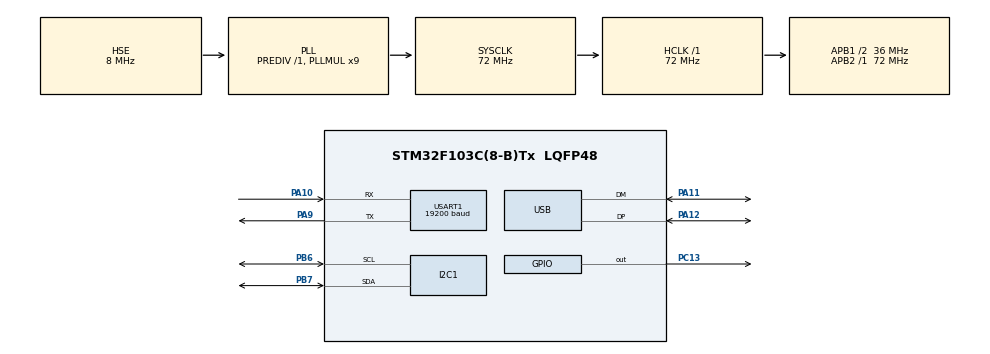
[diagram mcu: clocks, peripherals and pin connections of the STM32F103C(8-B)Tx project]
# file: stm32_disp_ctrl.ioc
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Dma.Request0=USART1_RX
Dma.Request1=USART1_TX
Dma.USART1_RX.0.Direction=DMA_PERIPH_TO_MEMORY
Dma.USART1_RX.0.Instance=DMA1_Channel5
Dma.USART1_RX.0.MemDataAlignment=DMA_MDATAALIGN_BYTE
Dma.USART1_RX.0.MemInc=DMA_MINC_ENABLE
Dma.USART1_RX.0.Mode=DMA_NORMAL
Dma.USART1_RX.0.PeriphDataAlignment=DMA_PDATAALIGN_BYTE
Dma.USART1_RX.0.PeriphInc=DMA_PINC_DISABLE
Dma.USART1_RX.0.Priority=DMA_PRIORITY_LOW
Dma.USART1_TX.1.Direction=DMA_MEMORY_TO_PERIPH
Dma.USART1_TX.1.Instance=DMA1_Channel4
Dma.USART1_TX.1.MemDataAlignment=DMA_MDATAALIGN_BYTE
Dma.USART1_TX.1.MemInc=DMA_MINC_ENABLE
Dma.USART1_TX.1.Mode=DMA_NORMAL
Dma.USART1_TX.1.PeriphDataAlignment=DMA_PDATAALIGN_BYTE
Dma.USART1_TX.1.PeriphInc=DMA_PINC_DISABLE
Dma.USART1_TX.1.Priority=DMA_PRIORITY_LOW
Mcu.Family=STM32F1
Mcu.Name=STM32F103C(8-B)Tx
Mcu.Package=LQFP48
NVIC.DMA1_Channel4_IRQn=true\:0\:0\:false\:false\:true\:false\:true\:true
NVIC.DMA1_Channel5_IRQn=true\:0\:0\:false\:false\:true\:false\:true\:true
NVIC.PriorityGroup=NVIC_PRIORITYGROUP_4
NVIC.USART1_IRQn=true\:0\:0\:false\:false\:true\:true\:true\:true
NVIC.USB_LP_CAN1_RX0_IRQn=true\:0\:0\:false\:false\:true\:false\:true\:true
PA10.Mode=Asynchronous
PA10.Signal=USART1_RX
PA11.Mode=Device
PA11.Signal=USB_DM
PA12.Mode=Device
PA12.Signal=USB_DP
PA13.Mode=Serial_Wire
PA13.Signal=SYS_JTMS-SWDIO
PA14.Mode=Serial_Wire
PA14.Signal=SYS_JTCK-SWCLK
PA9.Mode=Asynchronous
PA9.Signal=USART1_TX
PB6.Mode=I2C
PB6.Signal=I2C1_SCL
PB7.Mode=I2C
PB7.Signal=I2C1_SDA
PC13-TAMPER-RTC.Signal=GPIO_Output
PD0-OSC_IN.Mode=HSE-External-Oscillator
PD0-OSC_IN.Signal=RCC_OSC_IN
PD1-OSC_OUT.Mode=HSE-External-Oscillator
PD1-OSC_OUT.Signal=RCC_OSC_OUT
ProjectManager.HeapSize=0x200
ProjectManager.StackSize=0x400
ProjectManager.TargetToolchain=STM32CubeIDE
RCC.AHBFreq_Value=72000000
RCC.APB1CLKDivider=RCC_HCLK_DIV2
RCC.APB1Freq_Value=36000000
RCC.APB1TimFreq_Value=72000000
RCC.APB2Freq_Value=72000000
RCC.APB2TimFreq_Value=72000000
RCC.HCLKFreq_Value=72000000
RCC.PLLMUL=RCC_PLL_MUL9
RCC.PLLSourceVirtual=RCC_PLLSOURCE_HSE
RCC.SYSCLKFreq_VALUE=72000000
RCC.SYSCLKSource=RCC_SYSCLKSOURCE_PLLCLK
RCC.USBFreq_Value=48000000
RCC.USBPrescaler=RCC_USBCLKSOURCE_PLL_DIV1_5
TIM2.Period=0xffff-1
TIM2.Prescaler=72-1
USART1.BaudRate=19200
USART1.VirtualMode=VM_ASYNC
USB_DEVICE.CLASS_NAME_FS=CDC
USB_DEVICE.VirtualMode=Cdc
USB_DEVICE.VirtualModeFS=Cdc_FS
VP_CRC_VS_CRC.Mode=CRC_Activate
VP_TIM2_VS_ClockSourceINT.Mode=Internal
VP_USB_DEVICE_VS_USB_DEVICE_CDC_FS.Mode=CDC_FS
board=custom

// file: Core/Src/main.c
/* USER CODE BEGIN Header */
/**
  ******************************************************************************
  * @file           : main.c
  * @brief          : Main program body
  ******************************************************************************
  * @attention
  *
  * Copyright (c) 2022 STMicroelectronics.
  * All rights reserved.
  *
  * This software is licensed under terms that can be found in the LICENSE file
  * in the root directory of this software component.
  * If no LICENSE file comes with this software, it is provided AS-IS.
  *
  ******************************************************************************
  */
/* USER CODE END Header */
#include "main.h"
#include "usb_device.h"

/* USER CODE BEGIN Includes */
#include "usbd_cdc_if.h"
/* USER CODE END Includes */

 CRC_HandleTypeDef hcrc;

I2C_HandleTypeDef hi2c1;

TIM_HandleTypeDef htim2;

UART_HandleTypeDef huart1;
DMA_HandleTypeDef hdma_usart1_rx;
DMA_HandleTypeDef hdma_usart1_tx;

/* USER CODE BEGIN PV */
float TEMP_FACTOR = 1.0f / (65535.0f / 210.0f);
uint8_t buffer[154 + 8 + 8 + 4];
/* USER CODE END PV */

void SystemClock_Config(void);
static void MX_GPIO_Init(void);
static void MX_TIM2_Init(void);
static void MX_DMA_Init(void);
static void MX_I2C1_Init(void);
static void MX_USART1_UART_Init(void);
static void MX_CRC_Init(void);

/* USER CODE BEGIN 0 */
void crc_init(void) {
    RCC->AHBENR |= RCC_AHBENR_CRCEN;  // enable clock for CRC
    CRC->CR |= CRC_CR_RESET;   // Reset calculation
}

void HAL_UART_RxCpltCallback(UART_HandleTypeDef *huart) {
    if (huart == &huart1) {
        HAL_GPIO_TogglePin(GPIOC, GPIO_PIN_13);

        crc_init();
        uint8_t i;
        CRC->CR = 1;
        for (i = 0; i < (154 + 8 + 8); i++) {
            CRC->DR = buffer[i];
        }
        uint32_t crc[1] = {CRC->DR};
        uint8_t c[200];
        int l = 0;

        if (memcmp(crc, buffer + 154 + 8 + 8, 4) == 0) {
            l += sprintf(c + l, "CRC OK\n");
        } else {
            l += sprintf(c + l, "CRC FAIL\n");
        }

        uint16_t min = 0x0000;
        uint16_t max = 0xFFFF;
        uint16_t cur;
        for (int i = 0; i < 16; i+=2) {
            cur = ((uint16_t) buffer[i + 1] << 8) | buffer[i];
            /*if (cur != 0 && cur < min) min = cur;
            if (cur != 0xFFFF && cur > max) max = cur;*/

            if (cur == 0xFFFF) l += sprintf(c + l, "TEMP%d: 0xFFFF\n", i / 2);
            else if (cur == 0x0000) l += sprintf(c + l, "TEMP%d: 0x0000\n", i / 2);
            //else l += sprintf(c + l, "TEMP%d: %4X\n", i / 2, cur);
            else l += sprintf(c + l, "TEMP%d: %4f\n", i / 2, (float) cur * TEMP_FACTOR - 60);

        }
        l += sprintf(c + l, "BMS: %4x\n", buffer[16]);
        l += sprintf(c + l, "\n");
        CDC_Transmit_FS(c, l);
        /*int l = sprintf(c, "MIN: %f, MAX: %f\n", ((float)min) / (65535.0f / 210.0f) - 60, ((float)max) / (65535.0f / 210.0f) - 60);
        CDC_Transmit_FS(c, l);*/

        //CDC_Transmit_FS(buffer, 154 + 8 + 8 + 4);

        HAL_UART_Receive_DMA(&huart1, buffer, 154 + 8 + 8 + 4);
    }
}
/* USER CODE END 0 */

int main(void)
{

  /* MCU Configuration--------------------------------------------------------*/

  /* Reset of all peripherals, Initializes the Flash interface and the Systick. */
  HAL_Init();

  /* Configure the system clock */
  SystemClock_Config();

  /* Initialize all configured peripherals */
  MX_GPIO_Init();
  MX_TIM2_Init();
  MX_DMA_Init();
  MX_I2C1_Init();
  MX_USART1_UART_Init();
  MX_USB_DEVICE_Init();
  MX_CRC_Init();
  /* USER CODE BEGIN 2 */
    //HAL_UART_Transmit(&huart1, (uint8_t *) 0xFF, 1, 100);
    HAL_Delay(500);
    HAL_UART_Receive_DMA(&huart1, buffer, 154 + 8 + 8 + 4);

    /*-[ I2C Bus Scanning ]-*/

  /* USER CODE END 2 */

  /* Infinite loop */
  while (1)
  {

  }
}

void SystemClock_Config(void)
{
  RCC_OscInitTypeDef RCC_OscInitStruct = {0};
  RCC_ClkInitTypeDef RCC_ClkInitStruct = {0};
  RCC_PeriphCLKInitTypeDef PeriphClkInit = {0};

  /** Initializes the RCC Oscillators according to the specified parameters
  * in the RCC_OscInitTypeDef structure.
  */
  RCC_OscInitStruct.OscillatorType = RCC_OSCILLATORTYPE_HSE;
  RCC_OscInitStruct.HSEState = RCC_HSE_ON;
  RCC_OscInitStruct.HSEPredivValue = RCC_HSE_PREDIV_DIV1;
  RCC_OscInitStruct.HSIState = RCC_HSI_ON;
  RCC_OscInitStruct.PLL.PLLState = RCC_PLL_ON;
  RCC_OscInitStruct.PLL.PLLSource = RCC_PLLSOURCE_HSE;
  RCC_OscInitStruct.PLL.PLLMUL = RCC_PLL_MUL9;
  if (HAL_RCC_OscConfig(&RCC_OscInitStruct) != HAL_OK)
  {
    Error_Handler();
  }

  /** Initializes the CPU, AHB and APB buses clocks
  */
  RCC_ClkInitStruct.ClockType = RCC_CLOCKTYPE_HCLK|RCC_CLOCKTYPE_SYSCLK
                              |RCC_CLOCKTYPE_PCLK1|RCC_CLOCKTYPE_PCLK2;
  RCC_ClkInitStruct.SYSCLKSource = RCC_SYSCLKSOURCE_PLLCLK;
  RCC_ClkInitStruct.AHBCLKDivider = RCC_SYSCLK_DIV1;
  RCC_ClkInitStruct.APB1CLKDivider = RCC_HCLK_DIV2;
  RCC_ClkInitStruct.APB2CLKDivider = RCC_HCLK_DIV1;

  if (HAL_RCC_ClockConfig(&RCC_ClkInitStruct, FLASH_LATENCY_2) != HAL_OK)
  {
    Error_Handler();
  }
  PeriphClkInit.PeriphClockSelection = RCC_PERIPHCLK_USB;
  PeriphClkInit.UsbClockSelection = RCC_USBCLKSOURCE_PLL_DIV1_5;
  if (HAL_RCCEx_PeriphCLKConfig(&PeriphClkInit) != HAL_OK)
  {
    Error_Handler();
  }
}

static void MX_CRC_Init(void)
{

  hcrc.Instance = CRC;
  if (HAL_CRC_Init(&hcrc) != HAL_OK)
  {
    Error_Handler();
  }

}

static void MX_I2C1_Init(void)
{

  hi2c1.Instance = I2C1;
  hi2c1.Init.ClockSpeed = 100000;
  hi2c1.Init.DutyCycle = I2C_DUTYCYCLE_2;
  hi2c1.Init.OwnAddress1 = 0;
  hi2c1.Init.AddressingMode = I2C_ADDRESSINGMODE_7BIT;
  hi2c1.Init.DualAddressMode = I2C_DUALADDRESS_DISABLE;
  hi2c1.Init.OwnAddress2 = 0;
  hi2c1.Init.GeneralCallMode = I2C_GENERALCALL_DISABLE;
  hi2c1.Init.NoStretchMode = I2C_NOSTRETCH_DISABLE;
  if (HAL_I2C_Init(&hi2c1) != HAL_OK)
  {
    Error_Handler();
  }

}

static void MX_TIM2_Init(void)
{

  TIM_ClockConfigTypeDef sClockSourceConfig = {0};
  TIM_MasterConfigTypeDef sMasterConfig = {0};

  htim2.Instance = TIM2;
  htim2.Init.Prescaler = 72-1;
  htim2.Init.CounterMode = TIM_COUNTERMODE_UP;
  htim2.Init.Period = 0xffff-1;
  htim2.Init.ClockDivision = TIM_CLOCKDIVISION_DIV1;
  htim2.Init.AutoReloadPreload = TIM_AUTORELOAD_PRELOAD_DISABLE;
  if (HAL_TIM_Base_Init(&htim2) != HAL_OK)
  {
    Error_Handler();
  }
  sClockSourceConfig.ClockSource = TIM_CLOCKSOURCE_INTERNAL;
  if (HAL_TIM_ConfigClockSource(&htim2, &sClockSourceConfig) != HAL_OK)
  {
    Error_Handler();
  }
  sMasterConfig.MasterOutputTrigger = TIM_TRGO_RESET;
  sMasterConfig.MasterSlaveMode = TIM_MASTERSLAVEMODE_DISABLE;
  if (HAL_TIMEx_MasterConfigSynchronization(&htim2, &sMasterConfig) != HAL_OK)
  {
    Error_Handler();
  }

}

static void MX_USART1_UART_Init(void)
{

  huart1.Instance = USART1;
  huart1.Init.BaudRate = 19200;
  huart1.Init.WordLength = UART_WORDLENGTH_8B;
  huart1.Init.StopBits = UART_STOPBITS_1;
  huart1.Init.Parity = UART_PARITY_NONE;
  huart1.Init.Mode = UART_MODE_TX_RX;
  huart1.Init.HwFlowCtl = UART_HWCONTROL_NONE;
  huart1.Init.OverSampling = UART_OVERSAMPLING_16;
  if (HAL_UART_Init(&huart1) != HAL_OK)
  {
    Error_Handler();
  }

}

static void MX_DMA_Init(void)
{

  /* DMA controller clock enable */
  __HAL_RCC_DMA1_CLK_ENABLE();

  /* DMA interrupt init */
  /* DMA1_Channel4_IRQn interrupt configuration */
  HAL_NVIC_SetPriority(DMA1_Channel4_IRQn, 0, 0);
  HAL_NVIC_EnableIRQ(DMA1_Channel4_IRQn);
  /* DMA1_Channel5_IRQn interrupt configuration */
  HAL_NVIC_SetPriority(DMA1_Channel5_IRQn, 0, 0);
  HAL_NVIC_EnableIRQ(DMA1_Channel5_IRQn);

}

static void MX_GPIO_Init(void)
{
  GPIO_InitTypeDef GPIO_InitStruct = {0};

  /* GPIO Ports Clock Enable */
  __HAL_RCC_GPIOC_CLK_ENABLE();
  __HAL_RCC_GPIOD_CLK_ENABLE();
  __HAL_RCC_GPIOA_CLK_ENABLE();
  __HAL_RCC_GPIOB_CLK_ENABLE();

  /*Configure GPIO pin Output Level */
  HAL_GPIO_WritePin(GPIOC, GPIO_PIN_13, GPIO_PIN_RESET);

  /*Configure GPIO pin : PC13 */
  GPIO_InitStruct.Pin = GPIO_PIN_13;
  GPIO_InitStruct.Mode = GPIO_MODE_OUTPUT_PP;
  GPIO_InitStruct.Pull = GPIO_NOPULL;
  GPIO_InitStruct.Speed = GPIO_SPEED_FREQ_LOW;
  HAL_GPIO_Init(GPIOC, &GPIO_InitStruct);

}

void Error_Handler(void)
{
  __disable_irq();
  while (1)
  {
  }
}
